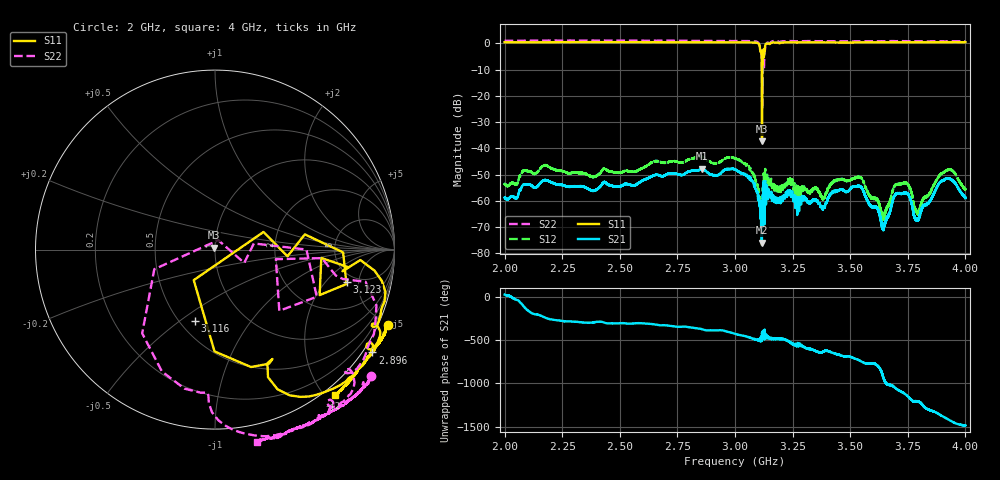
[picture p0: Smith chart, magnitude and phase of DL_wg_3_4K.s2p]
!Agilent Technologies,N5230C,SG49000117,A.08.50.07
!Agilent N5230C: A.08.50.07
!Date: Tuesday, May 07, 2024 00:12:38
!Correction: S11(Full 2 Port(1,2))
!S21(Full 2 Port(1,2))
!S12(Full 2 Port(1,2))
!S22(Full 2 Port(1,2))
!S2P File: Measurements: S11, S21, S12, S22:
# Hz S  MA  R 50
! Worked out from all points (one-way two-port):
!   20001 points, 2 GHz to 4 GHz, reference 50 ohm
!   highest |S21| = -47.75 dB at 2.857 GHz (marker M1); lowest = -75.9 dB at 3.116 GHz (marker M2)
!   lowest |S11| = -37.3 dB at 3.117 GHz (marker M3), VSWR 1.03, Z = 49.2 + j1.09 ohm
!   |S11| at or under -10 dB: 3.116408 GHz to 3.118115 GHz (1.706 MHz wide, 0.0547 % of centre)
!   |S22| runs from -25.1 to 1.1 dB; largest |S21 - S12| = 0.0038
!   S11 on the Smith chart (normalised r, x): 2 GHz: -0.59, -4.70; 2.896 GHz: -0.28, -3.33; 3.116 GHz: 0.59, -0.57; 3.123 GHz: 4.18, -3.55; 4 GHz: -0.14, -2.11
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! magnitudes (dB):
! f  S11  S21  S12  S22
! 2 GHz  0.4  -58.8  -53.6  1.0
! 2.174 GHz  0.4  -52.1  -46.4  1.1
! 2.333 GHz  0.5  -54.4  -49.4  1.0
! 2.667 GHz  0.4  -50.1  -44.9  1.0
! 2.857 GHz  0.4  -47.8  -43.1  0.9
! 2.896 GHz  0.4  -50.1  -45.3  0.9
! 3 GHz  0.4  -48.0  -43.8  0.9
! 3.095 GHz  0.2  -56.7  -53.7  0.6
! 3.116 GHz  -7.7  -70.1  -70.3  -6.1
! 3.116 GHz  -9.9  -75.9  -77.3  -7.3
! 3.117 GHz  -37.3  -66.1  -66.6  -13.3
! 3.123 GHz  -2.4  -61.5  -56.6  -4.1
! 3.139 GHz  -0.1  -54.6  -49.6  0.2
! 3.333 GHz  0.4  -60.4  -56.4  0.9
! 3.538 GHz  0.4  -54.4  -51.0  0.8
! 3.642 GHz  0.4  -70.5  -67.0  0.8
! 3.667 GHz  0.4  -65.1  -61.8  0.8
! 3.696 GHz  0.4  -57.5  -53.8  0.8
! 3.74 GHz  0.4  -56.9  -53.1  0.8
! 3.794 GHz  0.4  -67.3  -64.9  0.8
! 3.919 GHz  0.4  -51.5  -48.4  0.8
! 4 GHz  0.4  -59.0  -55.8  0.8
